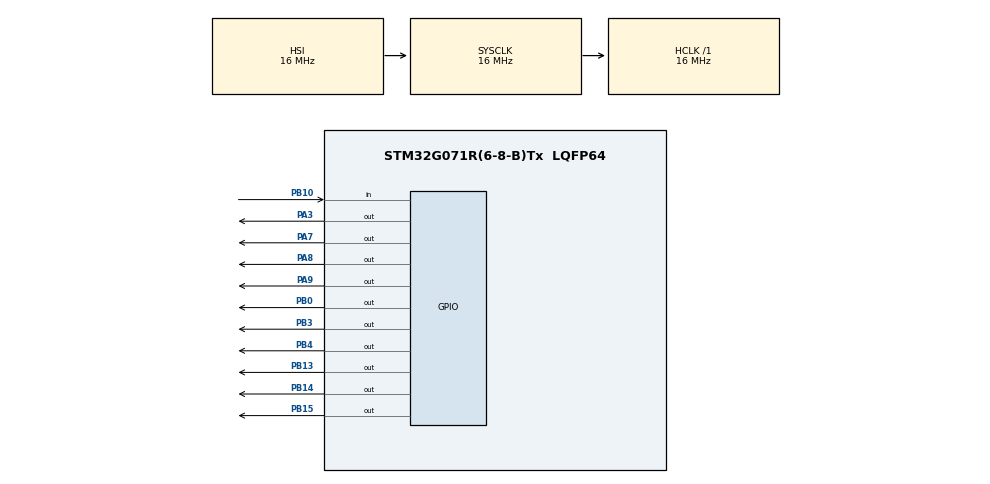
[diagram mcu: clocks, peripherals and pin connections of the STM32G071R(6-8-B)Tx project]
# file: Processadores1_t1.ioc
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Mcu.Family=STM32G0
Mcu.Name=STM32G071R(6-8-B)Tx
Mcu.Package=LQFP64
PA3.Signal=GPIO_Output
PA7.Signal=GPIO_Output
PA8.Signal=GPIO_Output
PA9.Signal=GPIO_Output
PB0.Signal=GPIO_Output
PB10.Signal=GPIO_Input
PB13.Signal=GPIO_Output
PB14.Signal=GPIO_Output
PB15.Signal=GPIO_Output
PB3.Signal=GPIO_Output
PB4.Signal=GPIO_Output
ProjectManager.HeapSize=0x200
ProjectManager.StackSize=0x400
ProjectManager.TargetToolchain=STM32CubeIDE
RCC.AHBFreq_Value=16000000
RCC.CortexFreq_Value=16000000
RCC.EXTERNAL_CLOCK_VALUE=48000
RCC.HCLKFreq_Value=16000000
RCC.HSE_VALUE=8000000
RCC.HSI_VALUE=16000000
RCC.LSE_VALUE=32768
RCC.SYSCLKFreq_VALUE=16000000
RCC.VCOOutputFreq_Value=128000000
board=custom

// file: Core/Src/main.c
/* USER CODE BEGIN Header */
/**
  ******************************************************************************
  * @file           : main.c
  * @brief          : Main program body
  ******************************************************************************
  * @attention
  *
  * Copyright (c) 2025 STMicroelectronics.
  * All rights reserved.
  *
  * This software is licensed under terms that can be found in the LICENSE file
  * in the root directory of this software component.
  * If no LICENSE file comes with this software, it is provided AS-IS.
  *
  ******************************************************************************
  */
/* USER CODE END Header */
#include "main.h"

void SystemClock_Config(void);
static void MX_GPIO_Init(void);

/* USER CODE BEGIN 0 */
#define A_ON 	GPIOA->BRR = (1 << 3)
#define A_OFF 	GPIOA->BSRR = (1 << 3)
#define B_ON 	GPIOA->BRR = (1 << 7)
#define B_OFF 	GPIOA->BSRR = (1 << 7)
#define C_ON 	GPIOA->BRR = (1 << 8)
#define C_OFF 	GPIOA->BSRR = (1 << 8)
#define D_ON 	GPIOA->BRR = (1 << 9)
#define D_OFF 	GPIOA->BSRR = (1 << 9)
#define E_ON 	GPIOB->BRR = (1 << 0)
#define E_OFF 	GPIOB->BSRR = (1 << 0)
#define F_ON 	GPIOB->BRR = (1 << 3)
#define F_OFF 	GPIOB->BSRR = (1 << 3)
#define G_ON 	GPIOB->BRR = (1 << 4)
#define G_OFF 	GPIOB->BSRR = (1 << 4)

#define D1_OFF 	GPIOB->BSRR = (1 << 13)
#define D1_ON 	GPIOB->BRR = (1 << 13)
#define D2_OFF 	GPIOB->BSRR = (1 << 14)
#define D2_ON 	GPIOB->BRR = (1 << 14)
#define D3_OFF 	GPIOB->BSRR = (1 << 15)
#define D3_ON 	GPIOB->BRR = (1 << 15)

#define key (GPIOB->IDR & (1 << 10))

const uint8_t tab[16] = {0x40, 0x79, 0x24, 0x30, 0x19, 0x12, 0x02, 0x78, 0x00, 0x10, 0x08, 0x03, 0x46, 0x21, 0x06, 0x0E};

const uint8_t none = 0xFF;

void show(uint8_t n) {

    if((n & (1 << 0)) == 0)  A_ON; else A_OFF;
    if((n & (1 << 1)) == 0)  B_ON; else B_OFF;
    if((n & (1 << 2)) == 0)  C_ON; else C_OFF;
    if((n & (1 << 3)) == 0)  D_ON; else D_OFF;
    if((n & (1 << 4)) == 0)  E_ON; else E_OFF;
    if((n & (1 << 5)) == 0)  F_ON; else F_OFF;
    if((n & (1 << 6)) == 0)  G_ON; else G_OFF;
}

/* USER CODE END 0 */

int main(void)
{

  /* MCU Configuration--------------------------------------------------------*/

  /* Reset of all peripherals, Initializes the Flash interface and the Systick. */
  HAL_Init();

  /* Configure the system clock */
  SystemClock_Config();

  /* Initialize all configured peripherals */
  MX_GPIO_Init();
  /* USER CODE BEGIN 2 */
  int n = 0xfff, flow = 1;
  D1_OFF;
  D2_OFF;
  D3_OFF;

  /* USER CODE END 2 */

  /* Infinite loop */
  while (1)
  {

    /* USER CODE BEGIN 3 */
	  for (int i=0; i< 333; i++){
		  if(key == 0)flow = 1; else flow = -1;
		  D1_ON;
		  show(tab[(n & 0xF00) >> 8]);
		  HAL_Delay(1);
		  D1_OFF;

		  D2_ON;
		  show(tab[(n & 0x0F0) >> 4]);
		  HAL_Delay(1);
		  D2_OFF;

		  D3_ON;
		  show(tab[(n & 0x00F)]);
		  HAL_Delay(1);
		  D3_OFF;
	  }
	  n += flow;
	  if (flow == 1){
		  if (n > 0xfff) n = 0;
	  }
	  else{
		  if (n < 0) n = 0xfff;
	  }
  }
  /* USER CODE END 3 */
}

void SystemClock_Config(void)
{
  RCC_OscInitTypeDef RCC_OscInitStruct = {0};
  RCC_ClkInitTypeDef RCC_ClkInitStruct = {0};

  /** Configure the main internal regulator output voltage
  */
  HAL_PWREx_ControlVoltageScaling(PWR_REGULATOR_VOLTAGE_SCALE1);

  /** Initializes the RCC Oscillators according to the specified parameters
  * in the RCC_OscInitTypeDef structure.
  */
  RCC_OscInitStruct.OscillatorType = RCC_OSCILLATORTYPE_HSI;
  RCC_OscInitStruct.HSIState = RCC_HSI_ON;
  RCC_OscInitStruct.HSIDiv = RCC_HSI_DIV1;
  RCC_OscInitStruct.HSICalibrationValue = RCC_HSICALIBRATION_DEFAULT;
  RCC_OscInitStruct.PLL.PLLState = RCC_PLL_NONE;
  if (HAL_RCC_OscConfig(&RCC_OscInitStruct) != HAL_OK)
  {
    Error_Handler();
  }

  /** Initializes the CPU, AHB and APB buses clocks
  */
  RCC_ClkInitStruct.ClockType = RCC_CLOCKTYPE_HCLK|RCC_CLOCKTYPE_SYSCLK
                              |RCC_CLOCKTYPE_PCLK1;
  RCC_ClkInitStruct.SYSCLKSource = RCC_SYSCLKSOURCE_HSI;
  RCC_ClkInitStruct.AHBCLKDivider = RCC_SYSCLK_DIV1;
  RCC_ClkInitStruct.APB1CLKDivider = RCC_HCLK_DIV1;

  if (HAL_RCC_ClockConfig(&RCC_ClkInitStruct, FLASH_LATENCY_0) != HAL_OK)
  {
    Error_Handler();
  }
}

static void MX_GPIO_Init(void)
{
  GPIO_InitTypeDef GPIO_InitStruct = {0};

  /* GPIO Ports Clock Enable */
  __HAL_RCC_GPIOA_CLK_ENABLE();
  __HAL_RCC_GPIOB_CLK_ENABLE();

  /*Configure GPIO pin Output Level */
  HAL_GPIO_WritePin(GPIOA, GPIO_PIN_3|GPIO_PIN_7|GPIO_PIN_8|GPIO_PIN_9, GPIO_PIN_RESET);

  /*Configure GPIO pin Output Level */
  HAL_GPIO_WritePin(GPIOB, GPIO_PIN_0|GPIO_PIN_13|GPIO_PIN_14|GPIO_PIN_15
                          |GPIO_PIN_3|GPIO_PIN_4, GPIO_PIN_RESET);

  /*Configure GPIO pins : PA3 PA7 PA8 PA9 */
  GPIO_InitStruct.Pin = GPIO_PIN_3|GPIO_PIN_7|GPIO_PIN_8|GPIO_PIN_9;
  GPIO_InitStruct.Mode = GPIO_MODE_OUTPUT_PP;
  GPIO_InitStruct.Pull = GPIO_NOPULL;
  GPIO_InitStruct.Speed = GPIO_SPEED_FREQ_LOW;
  HAL_GPIO_Init(GPIOA, &GPIO_InitStruct);

  /*Configure GPIO pins : PB0 PB13 PB14 PB15
                           PB3 PB4 */
  GPIO_InitStruct.Pin = GPIO_PIN_0|GPIO_PIN_13|GPIO_PIN_14|GPIO_PIN_15
                          |GPIO_PIN_3|GPIO_PIN_4;
  GPIO_InitStruct.Mode = GPIO_MODE_OUTPUT_PP;
  GPIO_InitStruct.Pull = GPIO_NOPULL;
  GPIO_InitStruct.Speed = GPIO_SPEED_FREQ_LOW;
  HAL_GPIO_Init(GPIOB, &GPIO_InitStruct);

  /*Configure GPIO pin : PB10 */
  GPIO_InitStruct.Pin = GPIO_PIN_10;
  GPIO_InitStruct.Mode = GPIO_MODE_INPUT;
  GPIO_InitStruct.Pull = GPIO_NOPULL;
  HAL_GPIO_Init(GPIOB, &GPIO_InitStruct);

}

void Error_Handler(void)
{
  __disable_irq();
  while (1)
  {
  }
}
